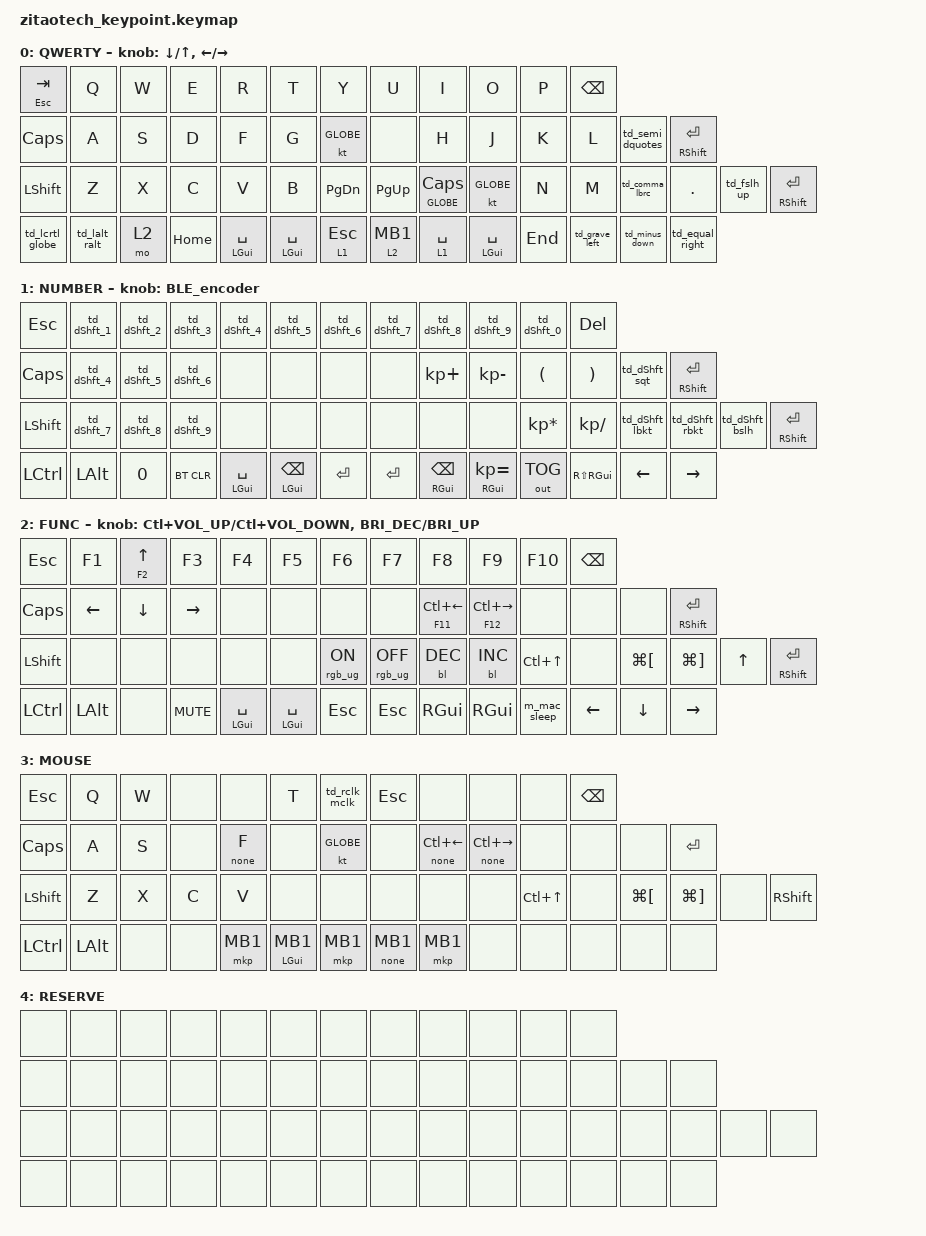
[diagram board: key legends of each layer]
/*
 * Copyright (c) 2025 ZitaoTech
 *
 * SPDX-License-Identifier: MIT
 */
// ═══════════════════════════════════════════════════════════════
// 头文件包含
// ═══════════════════════════════════════════════════════════════

#include <dt-bindings/zmk/mouse.h>      // 鼠标绑定
#include <behaviors.dtsi>
#include <dt-bindings/zmk/backlight.h>
#include <dt-bindings/zmk/bt.h>
#include <dt-bindings/zmk/keys.h>
#include <dt-bindings/zmk/outputs.h>
#include <dt-bindings/zmk/pointing.h>
#include <dt-bindings/zmk/rgb.h>

// 层定义常量

#define LOWER 1    // 降低层（数字层）
#define RAISE 2    // 升高层（功能层）
#define MOUSE 3    // 鼠标层
#define BOT bootloader  // 引导加载程序

// ═══════════════════════════════════════════════════════════════
// 主配置结构
// ═══════════════════════════════════════════════════════════════

/ {
    behaviors {
        // ═══════════════════════════════════════════════════════════════
        // 传感器行为 (SENSOR BEHAVIORS)
        // ═══════════════════════════════════════════════════════════════
        // BLE编码器 - 旋转切换蓝牙设备

        BLE_encoder: BLE_encoder {
            compatible = "zmk,behavior-sensor-rotate";
            #sensor-binding-cells = <0>;
            bindings = <&bt BT_NXT>, <&bt BT_PRV>;
        };

        // ═══════════════════════════════════════════════════════════════
        // 点击舞步行为 (TAP DANCE BEHAVIORS)
        // ═══════════════════════════════════════════════════════════════
        // 方向键点击舞步
        // FSLH/UP - 单击斜杠，双击上箭头

        td_fslh_up: td_fslh_up {
            compatible = "zmk,behavior-tap-dance";
            label = "TD_FSLH_UP";
            #binding-cells = <0>;
            bindings = <&kp FSLH>, <&kp UP>;

            tapping-term-ms = <250>;
        };

        // 减号/左箭头 - 单击减号，双击左箭头

        td_grave_left: td_grave_left {
            compatible = "zmk,behavior-tap-dance";
            label = "TD_GRAVE_LEFT";
            #binding-cells = <0>;
            bindings = <&kp GRAVE>, <&kp LEFT>;

            tapping-term-ms = <250>;
        };

        // 等号/下箭头 - 单击等号，双击下箭头

        td_minus_down: td_minus_down {
            compatible = "zmk,behavior-tap-dance";
            label = "TD_MINUS_DOWN";
            #binding-cells = <0>;
            bindings = <&kp MINUS>, <&kp DOWN>;

            tapping-term-ms = <250>;
        };

        // 回车/右/反引号 - 三击舞步：回车、右箭头、反引号

        td_equal_right: td_equal_right {
            compatible = "zmk,behavior-tap-dance";
            label = "TD_EQUAL_RIGHT";
            #binding-cells = <0>;
            bindings = <&kp EQUAL>, <&kp RIGHT>;

            tapping-term-ms = <250>;
        };

        // 上箭头/F2 - 单击上箭头，双击F2
        // 符号点击舞步
        // 分号/双引号 - 单击分号，双击双引号

        td_semi_dquotes: td_semi_dquotes {
            compatible = "zmk,behavior-tap-dance";
            label = "TD_SEMI_DQUOTES";
            #binding-cells = <0>;
            bindings = <&kp SEMI>, <&kp DOUBLE_QUOTES>;
        };

        // 逗号/左花括号 - 单击逗号，双击左花括号

        td_comma_lbrc: td_comma_lbrc {
            compatible = "zmk,behavior-tap-dance";
            label = "TD_COMMA_LBRC";
            #binding-cells = <0>;
            bindings = <&kp COMMA>, <&kp LBRC>;
        };

        // 句号/右花括号 - 单击句号，双击右花括号

        td_dot_rbrc: td_dot_rbrc {
            compatible = "zmk,behavior-tap-dance";
            label = "TD_DOT_RBRC";
            #binding-cells = <0>;
            bindings = <&kp DOT>, <&kp RBRC>;
        };

        // 右键/中键 - 单击鼠标右键，双击鼠标中键

        td_rclk_mclk: td_rclk_mclk {
            compatible = "zmk,behavior-tap-dance";
            label = "TD_RCLK_MCLK";
            #binding-cells = <0>;
            bindings = <&mkp MB2>, <&mkp MB3>;

            tapping-term-ms = <300>;
        };

        // 数字点击舞步（带Shift变体）
        // 数字1/感叹号 - 单击1，双击Shift+1(!)

        td_dShft_1: td_dShft_1 {
            compatible = "zmk,behavior-tap-dance";
            label = "TD_DSHFT_1";
            #binding-cells = <0>;
            bindings = <&kp NUMBER_1>, <&kp EXCL>;

            tapping-term-ms = <120>;
        };

        // 数字2/@符号 - 单击2，双击Shift+2(@)

        td_dShft_2: td_dShft_2 {
            compatible = "zmk,behavior-tap-dance";
            label = "TD_DSHFT_2";
            #binding-cells = <0>;
            bindings = <&kp NUMBER_2>, <&kp AT>;

            tapping-term-ms = <120>;
        };

        // 数字3/#符号 - 单击3，双击Shift+3(#)

        td_dShft_3: td_dShft_3 {
            compatible = "zmk,behavior-tap-dance";
            label = "TD_DSHFT_3";
            #binding-cells = <0>;
            bindings = <&kp N3>, <&kp HASH>;

            tapping-term-ms = <120>;
        };

        // 数字4/$符号 - 单击4，双击Shift+4($)

        td_dShft_4: td_dShft_4 {
            compatible = "zmk,behavior-tap-dance";
            label = "TD_DSHFT_4";
            #binding-cells = <0>;
            bindings = <&kp N4>, <&kp DLLR>;

            tapping-term-ms = <120>;
        };

        // 数字5/%符号 - 单击5，双击Shift+5(%)

        td_dShft_5: td_dShft_5 {
            compatible = "zmk,behavior-tap-dance";
            label = "TD_DSHFT_5";
            #binding-cells = <0>;
            bindings = <&kp N5>, <&kp PRCNT>;

            tapping-term-ms = <120>;
        };

        // 数字6/^符号 - 单击6，双击Shift+6(^)

        td_dShft_6: td_dShft_6 {
            compatible = "zmk,behavior-tap-dance";
            label = "TD_DSHFT_6";
            #binding-cells = <0>;
            bindings = <&kp N6>, <&kp CARET>;

            tapping-term-ms = <120>;
        };

        // 数字7/&符号 - 单击7，双击Shift+7(&)

        td_dShft_7: td_dShft_7 {
            compatible = "zmk,behavior-tap-dance";
            label = "TD_DSHFT_7";
            #binding-cells = <0>;
            bindings = <&kp N7>, <&kp AMPS>;

            tapping-term-ms = <120>;
        };

        // 数字8/*符号 - 单击8，双击Shift+8(*)

        td_dShft_8: td_dShft_8 {
            compatible = "zmk,behavior-tap-dance";
            label = "TD_DSHFT_8";
            #binding-cells = <0>;
            bindings = <&kp N8>, <&kp STAR>;

            tapping-term-ms = <120>;
        };

        // 数字9/左括号 - 单击9，双击Shift+9(()

        td_dShft_9: td_dShft_9 {
            compatible = "zmk,behavior-tap-dance";
            label = "TD_DSHFT_9";
            #binding-cells = <0>;
            bindings = <&kp N9>, <&kp LPAR>;

            tapping-term-ms = <120>;
        };

        // 数字0/右括号 - 单击0，双击Shift+0())

        td_dShft_0: td_dShft_0 {
            compatible = "zmk,behavior-tap-dance";
            label = "TD_DSHFT_0";
            #binding-cells = <0>;
            bindings = <&kp N0>, <&kp RPAR>;

            tapping-term-ms = <120>;
        };

        // 括号/符号点击舞步
        // 单引号/双引号 - 单击单引号，双击双引号

        td_dShft_sqt: td_dShft_sqt {
            compatible = "zmk,behavior-tap-dance";
            label = "TD_DSHFT_SQT";
            #binding-cells = <0>;
            bindings = <&kp SQT>, <&kp DQT>;

            tapping-term-ms = <120>;
        };

        // 左方括号/左花括号 - 单击左方括号，双击左花括号

        td_dShft_lbkt: td_dShft_lbkt {
            compatible = "zmk,behavior-tap-dance";
            label = "TD_DSHFT_LBKT";
            #binding-cells = <0>;
            bindings = <&kp LBKT>, <&kp LBRC>;

            tapping-term-ms = <120>;
        };

        // 右方括号/右花括号 - 单击右方括号，双击右花括号

        td_dShft_rbkt: td_dShft_rbkt {
            compatible = "zmk,behavior-tap-dance";
            label = "TD_DSHFT_RBKT";
            #binding-cells = <0>;
            bindings = <&kp RBKT>, <&kp RBRC>;

            tapping-term-ms = <120>;
        };

        // 反斜杠/竖线 - 单击反斜杠，双击竖线

        td_dShft_bslh: td_dShft_bslh {
            compatible = "zmk,behavior-tap-dance";
            label = "TD_DSHFT_BSLH";
            #binding-cells = <0>;
            bindings = <&kp BSLH>, <&kp PIPE>;

            tapping-term-ms = <120>;
        };

        // ═══════════════════════════════════════════════════════════════
        // 长按点击行为 (HOLD-TAP BEHAVIORS)
        // ═══════════════════════════════════════════════════════════════
        // 长按激活图层，点击输出按键

        ht_mo_mkp: ht_mo_mkp {
            compatible = "zmk,behavior-hold-tap";
            label = "HT_MO_MKP";
            #binding-cells = <2>;
            bindings = <&mo>, <&mkp>;

            tapping-term-ms = <200>;
        };

        // 长按无操作，点击输出按键（优先点击）

        ht_none_kp: ht_none_kp {
            compatible = "zmk,behavior-hold-tap";
            label = "HT_NONE_KP";
            #binding-cells = <2>;
            flavor = "tap-preferred";
            tapping-term-ms = <200>;
            bindings = <&none>, <&kp>;
        };

        // 长按无操作，点击输出鼠标按键（优先点击）

        ht_none_mkp: ht_none_mkp {
            compatible = "zmk,behavior-hold-tap";
            label = "HT_NONE_MKP";
            #binding-cells = <2>;
            flavor = "tap-preferred";
            tapping-term-ms = <200>;
            bindings = <&none>, <&mkp>;
        };

        td_lcrtl_globe: td_lcrtl_globe {
            compatible = "zmk,behavior-tap-dance";
            label = "TD_LCRTL_GLOBE";
            #binding-cells = <0>;
            bindings = <&kp LCTRL>, <&kp GLOBE>;
        };

        ht_kp_mkp: ht_kp_mkp {
            compatible = "zmk,behavior-hold-tap";
            label = "HT_KP_MKP";
            bindings = <&kp>, <&mkp>;

            #binding-cells = <2>;
            tapping-term-ms = <200>;
        };

        ht_kp_kp: ht_kp_kp {
            compatible = "zmk,behavior-hold-tap";
            label = "HT_KP_KP";
            bindings = <&kp>, <&kp>;

            #binding-cells = <2>;
            tapping-term-ms = <200>;
        };

        td_lalt_ralt: td_lalt_ralt {
            compatible = "zmk,behavior-tap-dance";
            label = "TD_LALT_RALT";
            #binding-cells = <0>;
            bindings = <&kp LALT>, <&kp RALT>;
        };

        td_spacergui_globe_caps: td_spacergui_globe_caps {
            compatible = "zmk,behavior-tap-dance";
            label = "TD_SPACERGUI_GLOBE_CAPS";
            #binding-cells = <0>;
            bindings = <&mt RGUI SPACE>, <&kp GLOBE>, <&kp CAPS>;
        };

        ht_kp_none: ht_kp_none {
            compatible = "zmk,behavior-hold-tap";
            label = "HT_KP_NONE";
            bindings = <&kp>, <&none>;

            #binding-cells = <2>;
            tapping-term-ms = <200>;
        };
    };

    // ═══════════════════════════════════════════════════════════════
    // 组合键 (COMBOS)
    // ═══════════════════════════════════════════════════════════════

    combos {
        compatible = "zmk,combos";

        // 输入法组合键 - 用于切换输入法或输入数字
        // 按键位置21+50 → 数字2

        ime_2a_r {
            bindings = <&kp N2>;
            key-positions = <21 50>;
            layers = <0>;
        };

        // 按键位置21+51 → 数字2

        ime_2b_r {
            bindings = <&kp N2>;
            key-positions = <21 51>;
            layers = <0>;
        };

        // 按键位置22+50 → 数字3

        ime_3a_r {
            bindings = <&kp N3>;
            key-positions = <22 50>;
            layers = <0>;
        };

        // 按键位置50+23 → 数字4

        ime_4a_r {
            bindings = <&kp N4>;
            key-positions = <50 23>;
            layers = <0>;
        };

        // 按键位置21+49 → 数字5

        ime_5_r {
            bindings = <&kp N5>;
            key-positions = <21 49>;
            layers = <0>;
        };

        // 按键位置49+22 → 数字6

        ime_6_r {
            bindings = <&kp N6>;
            key-positions = <49 22>;
            layers = <0>;
        };

        // 按键位置49+23 → 数字7

        ime_7_r {
            bindings = <&kp N7>;
            key-positions = <49 23>;
            layers = <0>;
        };

        // 按键位置22+51 → 数字3

        ime_3b_r {
            bindings = <&kp N3>;
            key-positions = <22 51>;
            layers = <0>;
        };

        // 按键位置23+49 → 数字4

        ime_4b_r {
            bindings = <&kp N4>;
            key-positions = <23 51>;
            layers = <0>;
        };
    };

    // ═══════════════════════════════════════════════════════════════
    // 键位图 (KEYMAP)
    // ═══════════════════════════════════════════════════════════════

    macros {
        m_mac_sleep: m_mac_sleep {
            compatible = "zmk,behavior-macro";
            #binding-cells = <0>;
            bindings = <&kp LC(LG(Q))>, <&macro_wait_time 5000>, <&kp ESC>;

            label = "M_MAC_SLEEP";
        };
    };

    keymap {
        compatible = "zmk,keymap";

        // ═══════════════════════════════════════════════════════════════
        // 基础层 - QWERTY标准键盘布局
        // ═══════════════════════════════════════════════════════════════

        default_layer {
            display-name = "QWERTY";
            bindings = <
&mt ESC TAB      &kp Q          &kp W  &kp E     &kp R           &kp T           &kp Y      &kp U             &kp I               &kp O           &kp P    &kp BSPC
&kp CAPS         &kp A          &kp S  &kp D     &kp F           &kp G           &kt GLOBE  &none             &kp H               &kp J           &kp K    &kp L           &td_semi_dquotes  &mt RSHFT ENTER
&kp LSHFT        &kp Z          &kp X  &kp C     &kp V           &kp B           &kp PG_DN  &kp PG_UP         &mt GLOBE CAPSLOCK  &kt GLOBE       &kp N    &kp M           &td_comma_lbrc    &kp DOT          &td_fslh_up  &mt RSHFT ENTER
&td_lcrtl_globe  &td_lalt_ralt  &mo 2  &kp HOME  &mt LGUI SPACE  &mt LGUI SPACE  &lt 1 ESC  &ht_mo_mkp 2 MB1  &lt 1 SPACE         &mt LGUI SPACE  &kp END  &td_grave_left  &td_minus_down    &td_equal_right
            >;

            // 传感器绑定：旋转编码器上下/左右

            sensor-bindings = <&inc_dec_kp DOWN UP>, <&inc_dec_kp LEFT RIGHT>;
        };

        // ═══════════════════════════════════════════════════════════════
        // 数字层 - 数字和符号输入
        // ═══════════════════════════════════════════════════════════════

        NUMBER_layer {
            display-name = "NUMBER";
            bindings = <
&kp ESC    &td_dShft_1   &td_dShft_2  &td_dShft_3  &td_dShft_4     &td_dShft_5         &td_dShft_6  &td_dShft_7  &td_dShft_8         &td_dShft_9        &td_dShft_0      &kp DEL
&kp CAPS   &td_dShft_4   &td_dShft_5  &td_dShft_6  &none           &none               &none        &none        &kp KP_PLUS         &kp KP_MINUS       &kp LPAR         &kp RPAR       &td_dShft_sqt   &mt RSHIFT ENTER
&kp LSHFT  &td_dShft_7   &td_dShft_8  &td_dShft_9  &none           &none               &none        &none        &none               &none              &kp KP_MULTIPLY  &kp KP_DIVIDE  &td_dShft_lbkt  &td_dShft_rbkt    &td_dShft_bslh  &mt RSHFT ENTER
&kp LCTRL  &kp LEFT_ALT  &kp N0       &bt BT_CLR   &mt LGUI SPACE  &mt LGUI BACKSPACE  &kp ENTER    &kp ENTER    &mt RGUI BACKSPACE  &mt RGUI KP_EQUAL  &out OUT_TOG     &kp RS(RGUI)   &kp LEFT        &kp RIGHT
            >;

            // 传感器绑定：BLE编码器切换蓝牙设备，旋转上下选择

            sensor-bindings = <&BLE_encoder>;
        };

        // ═══════════════════════════════════════════════════════════════
        // 功能层 - F键和系统控制
        // ═══════════════════════════════════════════════════════════════

        FUNCTION_layer {
            display-name = "FUNC";
            bindings = <
&kp ESC    &kp F1        &mt F2 UP  &kp F3      &kp F4          &kp F5          &kp F6          &kp F7           &kp F8                  &kp F9             &kp F10       &kp BACKSPACE
&kp CAPS   &kp LEFT      &kp DOWN   &kp RIGHT   &none           &none           &none           &none            &mt F11 LC(LEFT_ARROW)  &mt F12 LC(RIGHT)  &none         &none          &none         &mt RSHFT ENTER
&kp LSHFT  &none         &none      &none       &none           &none           &rgb_ug RGB_ON  &rgb_ug RGB_OFF  &bl BL_DEC              &bl BL_INC         &kp LC(UP)    &none          &kp LG(LBKT)  &kp LG(RBKT)     &kp UP  &mt RSHFT ENTER
&kp LCTRL  &kp LEFT_ALT  &none      &kp C_MUTE  &mt LGUI SPACE  &mt LGUI SPACE  &kp ESC         &kp ESCAPE       &kp RGUI                &kp RGUI           &m_mac_sleep  &kp LEFT       &kp DOWN      &kp RIGHT
            >;

            // 传感器绑定：旋转调节音量和亮度

            sensor-bindings =
                <&inc_dec_kp LC(C_VOLUME_UP) LC(C_VOLUME_DOWN)>,
                <&inc_dec_kp C_BRI_DEC C_BRI_UP>;
        };

        // ═══════════════════════════════════════════════════════════════
        // 鼠标层 - 鼠标模拟控制
        // ═══════════════════════════════════════════════════════════════

        MOUSE_layer {
            display-name = "MOUSE";
            bindings = <
&kp ESC    &kp Q         &kp W  &none  &none            &kp T                &td_rclk_mclk  &kp ESC             &none                   &none                    &none       &kp BSPC
&kp CAPS   &kp A         &kp S  &none  &ht_none_kp 0 F  &none                &kt GLOBE      &none               &ht_none_kp 0 LC(LEFT)  &ht_none_kp 0 LC(RIGHT)  &none       &none     &none         &kp ENTER
&kp LSHFT  &kp Z         &kp X  &kp C  &kp V            &none                &none          &none               &none                   &none                    &kp LC(UP)  &none     &kp LG(LBKT)  &kp LG(RBKT)  &none  &kp RSHFT
&kp LCTRL  &kp LEFT_ALT  &none  &none  &mkp MB1         &ht_kp_mkp LGUI MB1  &mkp MB1       &ht_none_mkp 0 MB1  &mkp MB1                &none                    &none       &none     &none         &none
            >;
        };

        // ═══════════════════════════════════════════════════════════════
        // 预留层 - 空白占位
        // ═══════════════════════════════════════════════════════════════

        RES_layer {
            display-name = "RESERVE";
            bindings = <
&none  &none  &none  &none  &none  &none  &none  &none  &none  &none  &none  &none
&none  &none  &none  &none  &none  &none  &none  &none  &none  &none  &none  &none  &none  &none
&none  &none  &none  &none  &none  &none  &none  &none  &none  &none  &none  &none  &none  &none  &none  &none
&none  &none  &none  &none  &none  &none  &none  &none  &none  &none  &none  &none  &none  &none
            >;
        };
    };
};
